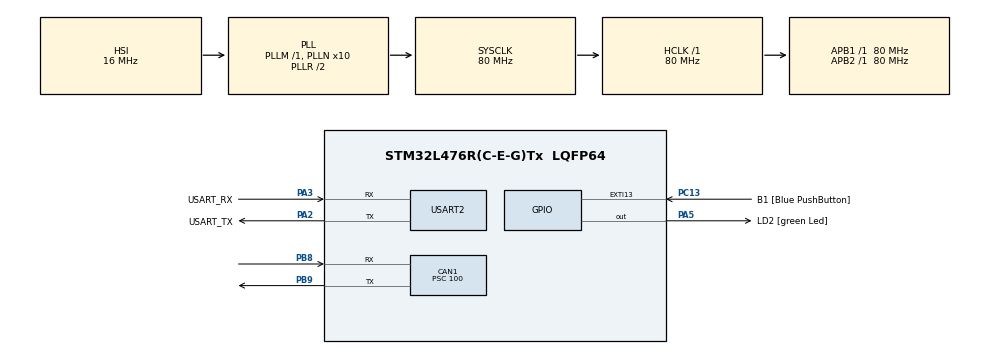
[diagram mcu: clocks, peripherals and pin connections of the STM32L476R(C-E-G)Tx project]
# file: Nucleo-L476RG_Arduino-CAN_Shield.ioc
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CAN1.BS1=CAN_BS1_13TQ
CAN1.BS2=CAN_BS2_2TQ
CAN1.CalculateBaudRate=50000
CAN1.CalculateTimeBit=20000
CAN1.CalculateTimeQuantum=1250.0
CAN1.NART=ENABLE
CAN1.Prescaler=100
Mcu.Family=STM32L4
Mcu.Name=STM32L476R(C-E-G)Tx
Mcu.Package=LQFP64
NVIC.CAN1_RX0_IRQn=true\:0\:0\:false\:false\:true\:true\:true\:true
NVIC.CAN1_RX1_IRQn=true\:0\:0\:false\:false\:true\:true\:true\:true
NVIC.CAN1_TX_IRQn=true\:0\:0\:false\:false\:true\:true\:true\:true
NVIC.PriorityGroup=NVIC_PRIORITYGROUP_4
NVIC.TIM1_TRG_COM_TIM17_IRQn=true\:0\:0\:false\:false\:true\:true\:true\:true
PA13\ (JTMS-SWDIO).GPIO_Label=TMS
PA13\ (JTMS-SWDIO).Mode=Serial_Wire
PA13\ (JTMS-SWDIO).Signal=SYS_JTMS-SWDIO
PA14\ (JTCK-SWCLK).GPIO_Label=TCK
PA14\ (JTCK-SWCLK).Mode=Serial_Wire
PA14\ (JTCK-SWCLK).Signal=SYS_JTCK-SWCLK
PA2.GPIO_Label=USART_TX
PA2.GPIO_Mode=GPIO_MODE_AF_PP
PA2.GPIO_PuPd=GPIO_NOPULL
PA2.GPIO_Speed=GPIO_SPEED_FREQ_VERY_HIGH
PA2.Mode=Asynchronous
PA2.Signal=USART2_TX
PA3.GPIO_Label=USART_RX
PA3.GPIO_Mode=GPIO_MODE_AF_PP
PA3.GPIO_PuPd=GPIO_NOPULL
PA3.GPIO_Speed=GPIO_SPEED_FREQ_VERY_HIGH
PA3.Mode=Asynchronous
PA3.Signal=USART2_RX
PA5.GPIO_Label=LD2 [green Led]
PA5.GPIO_ModeDefaultOutputPP=GPIO_MODE_OUTPUT_PP
PA5.GPIO_PuPd=GPIO_NOPULL
PA5.GPIO_Speed=GPIO_SPEED_FREQ_LOW
PA5.Signal=GPIO_Output
PB3\ (JTDO-TRACESWO).GPIO_Label=SWO
PB3\ (JTDO-TRACESWO).Signal=SYS_JTDO-SWO
PB8.Mode=CAN_Activate
PB8.Signal=CAN1_RX
PB9.Mode=CAN_Activate
PB9.Signal=CAN1_TX
PC13.GPIO_Label=B1 [Blue PushButton]
PC13.GPIO_ModeDefaultEXTI=GPIO_MODE_IT_FALLING
PC13.GPIO_PuPd=GPIO_NOPULL
PC13.Signal=GPXTI13
PC14-OSC32_IN\ (PC14).Mode=LSE-External-Oscillator
PC14-OSC32_IN\ (PC14).Signal=RCC_OSC32_IN
PC15-OSC32_OUT\ (PC15).Mode=LSE-External-Oscillator
PC15-OSC32_OUT\ (PC15).Signal=RCC_OSC32_OUT
PH0-OSC_IN\ (PH0).Signal=RCC_OSC_IN
PH1-OSC_OUT\ (PH1).Signal=RCC_OSC_OUT
ProjectManager.HeapSize=0x200
ProjectManager.StackSize=0x400
ProjectManager.TargetToolchain=STM32CubeIDE
RCC.ADCFreq_Value=64000000
RCC.AHBFreq_Value=80000000
RCC.APB1Freq_Value=80000000
RCC.APB1TimFreq_Value=80000000
RCC.APB2Freq_Value=80000000
RCC.APB2TimFreq_Value=80000000
RCC.CortexFreq_Value=80000000
RCC.HCLKFreq_Value=80000000
RCC.HSE_VALUE=8000000
RCC.HSI_VALUE=16000000
RCC.MSI_VALUE=4000000
RCC.PLLN=10
RCC.PLLSourceVirtual=RCC_PLLSOURCE_HSI
RCC.PREFETCH_ENABLE=1
RCC.SYSCLKFreq_VALUE=80000000
RCC.SYSCLKSource=RCC_SYSCLKSOURCE_PLLCLK
RCC.USBFreq_Value=64000000
RCC.VCOOutputFreq_Value=160000000
TIM17.Period=1000 - 1
TIM17.Prescaler=80 - 1
USART2.VirtualMode-Asynchronous=VM_ASYNC
VP_TIM17_VS_ClockSourceINT.Mode=Enable_Timer
board=NUCLEO-L476RG

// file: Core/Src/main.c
/* USER CODE BEGIN Header */
/**
  ******************************************************************************
  * @file           : main.c
  * @brief          : Main program body
  ******************************************************************************
  * @attention
  *
  * Copyright (c) 2026 STMicroelectronics.
  * All rights reserved.
  *
  * This software is licensed under terms that can be found in the LICENSE file
  * in the root directory of this software component.
  * If no LICENSE file comes with this software, it is provided AS-IS.
  *
  ******************************************************************************
  */
/* USER CODE END Header */
#include "main.h"
#include "can.h"
#include "tim.h"
#include "usart.h"
#include "gpio.h"

/* USER CODE BEGIN Includes */
#include "CO_app_STM32.h"
#include "OD.h"
#include <stdio.h>

/* USER CODE END Includes */

void SystemClock_Config(void);

/* USER CODE BEGIN 0 */
void
HAL_TIM_PeriodElapsedCallback(TIM_HandleTypeDef* htim) {
    if (htim == canopenNodeSTM32->timerHandle) {
        canopen_app_interrupt();
    }
}

/* USER CODE END 0 */

int main(void)
{

  /* MCU Configuration--------------------------------------------------------*/

  /* Reset of all peripherals, Initializes the Flash interface and the Systick. */
  HAL_Init();

  /* Configure the system clock */
  SystemClock_Config();

  /* Initialize all configured peripherals */
  MX_GPIO_Init();
  MX_CAN1_Init();
  MX_USART2_UART_Init();
  MX_TIM17_Init();
  /* USER CODE BEGIN 2 */
  CANopenNodeSTM32 canOpenNodeSTM32;
  canOpenNodeSTM32.CANHandle = &hcan1;
  canOpenNodeSTM32.HWInitFunction = MX_CAN1_Init;
  canOpenNodeSTM32.timerHandle = &htim17;
  canOpenNodeSTM32.desiredNodeID = 2;
  canOpenNodeSTM32.baudrate = 50;

  #ifdef DEBUG
  // Berechnung der CAN-Baudrate, siehe Reference-Manual
  log_printf("Running with %ld MHz...\n", SystemCoreClock/1000000 );
  uint32_t CAN_BTR = hcan1.Instance->BTR;
  uint16_t BRP = CAN_BTR & 0x03FF;             // Baud rate prescaler, die ersten 10 Bits
  float tPCLK = 1.0 / HAL_RCC_GetPCLK1Freq();  // Clock für CAN-Peripherie
  float tq = ((float)BRP + 1.0) * tPCLK;       // Time quantum
  uint8_t TS1 = (CAN_BTR >> 16) & 0xF;         // Number of time quanta in Time Segment 1
  uint8_t TS2 = (CAN_BTR >> 20) & 0x7;         // Number of time quanta in Time segment 2
  float tBS1 = tq * (float)(TS1 + 1);          // Zeit für BIT SEGMENT 1 (BS1)
  float tBS2 = tq * (float)(TS2 + 1);          // Zeit für BIT SEGMENT 2 (BS2)
  float baudRate = 1.0 / (tq + tBS1 + tBS2);
  log_printf("CAN baud rate = %.0f bit/s\n\n", baudRate);
  #endif
  canopen_app_init(&canOpenNodeSTM32);

  /* USER CODE END 2 */

  /* Infinite loop */
  /* USER CODE BEGIN WHILE */
  while (1)
  {
    OD_RAM.x2101_deviceObject1[0] -= 1;
    OD_RAM.x2101_deviceObject1[1] -= 2;
    OD_RAM.x2101_deviceObject1[2] -= 3;
    canopen_app_process();
    HAL_Delay(20);

    /* USER CODE END WHILE */

  }
}

void SystemClock_Config(void)
{
  RCC_OscInitTypeDef RCC_OscInitStruct = {0};
  RCC_ClkInitTypeDef RCC_ClkInitStruct = {0};

  /** Configure the main internal regulator output voltage
  */
  if (HAL_PWREx_ControlVoltageScaling(PWR_REGULATOR_VOLTAGE_SCALE1) != HAL_OK)
  {
    Error_Handler();
  }

  /** Initializes the RCC Oscillators according to the specified parameters
  * in the RCC_OscInitTypeDef structure.
  */
  RCC_OscInitStruct.OscillatorType = RCC_OSCILLATORTYPE_HSI;
  RCC_OscInitStruct.HSIState = RCC_HSI_ON;
  RCC_OscInitStruct.HSICalibrationValue = RCC_HSICALIBRATION_DEFAULT;
  RCC_OscInitStruct.PLL.PLLState = RCC_PLL_ON;
  RCC_OscInitStruct.PLL.PLLSource = RCC_PLLSOURCE_HSI;
  RCC_OscInitStruct.PLL.PLLM = 1;
  RCC_OscInitStruct.PLL.PLLN = 10;
  RCC_OscInitStruct.PLL.PLLP = RCC_PLLP_DIV7;
  RCC_OscInitStruct.PLL.PLLQ = RCC_PLLQ_DIV2;
  RCC_OscInitStruct.PLL.PLLR = RCC_PLLR_DIV2;
  if (HAL_RCC_OscConfig(&RCC_OscInitStruct) != HAL_OK)
  {
    Error_Handler();
  }

  /** Initializes the CPU, AHB and APB buses clocks
  */
  RCC_ClkInitStruct.ClockType = RCC_CLOCKTYPE_HCLK|RCC_CLOCKTYPE_SYSCLK
                              |RCC_CLOCKTYPE_PCLK1|RCC_CLOCKTYPE_PCLK2;
  RCC_ClkInitStruct.SYSCLKSource = RCC_SYSCLKSOURCE_PLLCLK;
  RCC_ClkInitStruct.AHBCLKDivider = RCC_SYSCLK_DIV1;
  RCC_ClkInitStruct.APB1CLKDivider = RCC_HCLK_DIV1;
  RCC_ClkInitStruct.APB2CLKDivider = RCC_HCLK_DIV1;

  if (HAL_RCC_ClockConfig(&RCC_ClkInitStruct, FLASH_LATENCY_4) != HAL_OK)
  {
    Error_Handler();
  }
}

void Error_Handler(void)
{
  __disable_irq();
  while (1)
  {
  }
}
